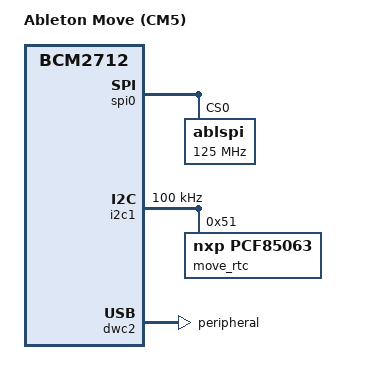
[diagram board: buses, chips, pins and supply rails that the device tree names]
// SPDX-License-Identifier: GPL-2.0-or-later
/*
 * bcm2712-rpi-cm5-move.dts - Standalone, fully-merged device tree for the
 * Ableton Move running on a Raspberry Pi Compute Module 5 carrier.
 *
 * Drop this file into the rpi-6.6.y kernel source at
 *     arch/arm64/boot/dts/broadcom/bcm2712-rpi-cm5-move.dts
 * and add the same filename (without .dts) to
 *     arch/arm64/boot/dts/broadcom/Makefile
 * under the `dtb-$(CONFIG_ARCH_BCM2835) += ...` list, alongside the other
 * bcm2712-* entries.
 *
 * Build:
 *     make -C linux ARCH=arm64 CROSS_COMPILE=aarch64-linux-gnu- \
 *          broadcom/bcm2712-rpi-cm5-move.dtb
 *
 * Install:
 *     cp arch/arm64/boot/dts/broadcom/bcm2712-rpi-cm5-move.dtb \
 *        /boot/firmware/
 * and reference it from /boot/firmware/config.txt:
 *     device_tree=bcm2712-rpi-cm5-move.dtb
 *
 * Move-specific additions (mirrored exactly from the CM4 image):
 *   - &spi0/ablspi@0 (compatible "ablspi", irq-gpio = 3) for the XMOS link.
 *   - &spi0/spidev@1 disabled.
 *   - PCF85063 RTC on &i2c1 @ 0x51.
 *   - &dwc2 in peripheral mode for the NCM USB-Ethernet gadget.
 *
 * Everything else - SoC topology, clocks, GIC, GPIO, PCIe, USB controllers,
 * MMC, DMA, thermals - is inherited from the upstream cm5io base.
 */

/dts-v1/;

#include "bcm2712-rpi-cm5-cm5io.dts"

/ {
	compatible = "ableton,move",
		     "raspberrypi,5-compute-module",
		     "brcm,bcm2712";
	model = "Ableton Move (CM5)";
};

&spi0 {
	status = "okay";

	/delete-node/ spidev@0;
	/delete-node/ spidev@1;

	ablspi: ablspi@0 {
		compatible = "ablspi";
		reg = <0>;
		spi-max-frequency = <125000000>;

		/*
		 * Legacy bare-integer GPIO binding consumed by the ablspi
		 * kernel module via of_property_read_u32. dtc will warn that
		 * cell 0 is not a phandle reference - that's intentional ABI
		 * compatibility with the CM4 driver.
		 */
		irq-gpio = <3>;
	};
};

&i2c1 {
	status = "okay";
	clock-frequency = <100000>;

	move_rtc: rtc@51 {
		compatible = "nxp,pcf85063";
		reg = <0x51>;
		status = "okay";
	};
};

&dwc2 {
	status = "okay";
	dr_mode = "peripheral";
	g-rx-fifo-size = <512>;
	g-np-tx-fifo-size = <512>;
	g-tx-fifo-size = <512 512 512 512>;
};
